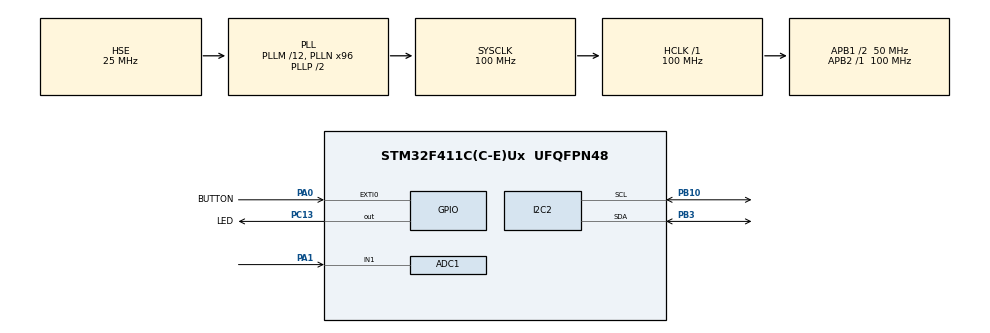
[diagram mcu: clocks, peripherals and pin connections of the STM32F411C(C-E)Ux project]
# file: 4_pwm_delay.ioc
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ADC1.Channel-2\#ChannelRegularConversion=ADC_CHANNEL_1
ADC1.ContinuousConvMode=DISABLE
ADC1.NbrOfConversionFlag=1
ADC1.Rank-2\#ChannelRegularConversion=1
ADC1.SamplingTime-2\#ChannelRegularConversion=ADC_SAMPLETIME_3CYCLES
ADC1.master=1
Mcu.Family=STM32F4
Mcu.Name=STM32F411C(C-E)Ux
Mcu.Package=UFQFPN48
NVIC.ADC_IRQn=true\:0\:0\:false\:false\:true\:true\:true\:true
NVIC.EXTI0_IRQn=true\:0\:0\:false\:false\:true\:true\:true\:true
NVIC.PriorityGroup=NVIC_PRIORITYGROUP_4
PA0-WKUP.GPIO_Label=BUTTON
PA0-WKUP.GPIO_PuPd=GPIO_PULLUP
PA0-WKUP.Signal=GPXTI0
PA1.Signal=ADCx_IN1
PA13.Mode=Serial_Wire
PA13.Signal=SYS_JTMS-SWDIO
PA14.Mode=Serial_Wire
PA14.Signal=SYS_JTCK-SWCLK
PB10.Mode=I2C
PB10.Signal=I2C2_SCL
PB3.Mode=I2C
PB3.Signal=I2C2_SDA
PC13-ANTI_TAMP.GPIO_Label=LED
PC13-ANTI_TAMP.Signal=GPIO_Output
PH0\ -\ OSC_IN.Mode=HSE-External-Oscillator
PH0\ -\ OSC_IN.Signal=RCC_OSC_IN
PH1\ -\ OSC_OUT.Mode=HSE-External-Oscillator
PH1\ -\ OSC_OUT.Signal=RCC_OSC_OUT
ProjectManager.HeapSize=0x200
ProjectManager.StackSize=0x400
ProjectManager.TargetToolchain=STM32CubeIDE
RCC.48MHZClocksFreq_Value=50000000
RCC.AHBFreq_Value=100000000
RCC.APB1CLKDivider=RCC_HCLK_DIV2
RCC.APB1Freq_Value=50000000
RCC.APB1TimFreq_Value=100000000
RCC.APB2Freq_Value=100000000
RCC.APB2TimFreq_Value=100000000
RCC.CortexFreq_Value=100000000
RCC.HCLKFreq_Value=100000000
RCC.HSE_VALUE=25000000
RCC.HSI_VALUE=16000000
RCC.LSE_VALUE=32768
RCC.PLLM=12
RCC.PLLN=96
RCC.PLLSourceVirtual=RCC_PLLSOURCE_HSE
RCC.SYSCLKFreq_VALUE=100000000
RCC.SYSCLKSource=RCC_SYSCLKSOURCE_PLLCLK
RCC.VCOOutputFreq_Value=200000000
SH.ADCx_IN1.0=ADC1_IN1,IN1
board=custom

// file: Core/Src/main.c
/* USER CODE BEGIN Header */
/**
  ******************************************************************************
  * @file           : main.c
  * @brief          : Main program body
  ******************************************************************************
  * @attention
  *
  * Copyright (c) 2023 STMicroelectronics.
  * All rights reserved.
  *
  * This software is licensed under terms that can be found in the LICENSE file
  * in the root directory of this software component.
  * If no LICENSE file comes with this software, it is provided AS-IS.
  *
  ******************************************************************************
  */
/* USER CODE END Header */
#include "main.h"

ADC_HandleTypeDef hadc1;

I2C_HandleTypeDef hi2c2;

/* USER CODE BEGIN PV */

/* Blackpill AD variables */
uint16_t adc_value;
uint8_t adc_flag = 0;

/* DA 12 bit i2c variables */
uint8_t dac_value_flag = 1;
uint16_t dac_value_on = 4095;
uint16_t dac_value_off = 0;
char buf[2];
uint8_t time_on = 0;

/* USER CODE END PV */

void SystemClock_Config(void);
static void MX_GPIO_Init(void);
static void MX_ADC1_Init(void);
static void MX_I2C2_Init(void);
/* USER CODE BEGIN PFP */
/** function to write value in i2c dac */
void write_dac(char buf[2], int dac_value){
  buf[0] = (uint8_t)(dac_value>>8);
  buf[1] = (uint8_t)(dac_value);
  HAL_I2C_Master_Transmit(&hi2c2, (0x60)<<1, buf, 2, 50);
}

/* USER CODE END PFP */

int main(void)
{

  /* MCU Configuration--------------------------------------------------------*/

  /* Reset of all peripherals, Initializes the Flash interface and the Systick. */
  HAL_Init();

  /* Configure the system clock */
  SystemClock_Config();

  /* Initialize all configured peripherals */
  MX_GPIO_Init();
  MX_ADC1_Init();
  MX_I2C2_Init();
  /* USER CODE BEGIN 2 */

  // Initializing blackpill adc
  HAL_ADC_Start_IT(&hadc1);

  /* USER CODE END 2 */

  /* Infinite loop */
  /* USER CODE BEGIN WHILE */
  while (1){

    // Treating AD input
    if(adc_flag == 1){
      adc_flag = 0;
      HAL_GPIO_TogglePin(LED_GPIO_Port, LED_Pin);

      // 10% time on with adc is zero and 90% time on when is 4095
      time_on = 80*adc_value/4095 + 10;

      // value to DA
      write_dac(buf, dac_value_on);
      HAL_Delay(time_on);

      write_dac(buf, dac_value_off);
      HAL_Delay(100 - time_on);

      HAL_ADC_Start_IT(&hadc1);
    }

    /* USER CODE END WHILE */

  }
}

void SystemClock_Config(void)
{
  RCC_OscInitTypeDef RCC_OscInitStruct = {0};
  RCC_ClkInitTypeDef RCC_ClkInitStruct = {0};

  /** Configure the main internal regulator output voltage
  */
  __HAL_RCC_PWR_CLK_ENABLE();
  __HAL_PWR_VOLTAGESCALING_CONFIG(PWR_REGULATOR_VOLTAGE_SCALE1);

  /** Initializes the RCC Oscillators according to the specified parameters
  * in the RCC_OscInitTypeDef structure.
  */
  RCC_OscInitStruct.OscillatorType = RCC_OSCILLATORTYPE_HSE;
  RCC_OscInitStruct.HSEState = RCC_HSE_ON;
  RCC_OscInitStruct.PLL.PLLState = RCC_PLL_ON;
  RCC_OscInitStruct.PLL.PLLSource = RCC_PLLSOURCE_HSE;
  RCC_OscInitStruct.PLL.PLLM = 12;
  RCC_OscInitStruct.PLL.PLLN = 96;
  RCC_OscInitStruct.PLL.PLLP = RCC_PLLP_DIV2;
  RCC_OscInitStruct.PLL.PLLQ = 4;
  if (HAL_RCC_OscConfig(&RCC_OscInitStruct) != HAL_OK)
  {
    Error_Handler();
  }

  /** Initializes the CPU, AHB and APB buses clocks
  */
  RCC_ClkInitStruct.ClockType = RCC_CLOCKTYPE_HCLK|RCC_CLOCKTYPE_SYSCLK
                              |RCC_CLOCKTYPE_PCLK1|RCC_CLOCKTYPE_PCLK2;
  RCC_ClkInitStruct.SYSCLKSource = RCC_SYSCLKSOURCE_PLLCLK;
  RCC_ClkInitStruct.AHBCLKDivider = RCC_SYSCLK_DIV1;
  RCC_ClkInitStruct.APB1CLKDivider = RCC_HCLK_DIV2;
  RCC_ClkInitStruct.APB2CLKDivider = RCC_HCLK_DIV1;

  if (HAL_RCC_ClockConfig(&RCC_ClkInitStruct, FLASH_LATENCY_3) != HAL_OK)
  {
    Error_Handler();
  }
}

static void MX_ADC1_Init(void)
{

  ADC_ChannelConfTypeDef sConfig = {0};

  /** Configure the global features of the ADC (Clock, Resolution, Data Alignment and number of conversion)
  */
  hadc1.Instance = ADC1;
  hadc1.Init.ClockPrescaler = ADC_CLOCK_SYNC_PCLK_DIV4;
  hadc1.Init.Resolution = ADC_RESOLUTION_12B;
  hadc1.Init.ScanConvMode = DISABLE;
  hadc1.Init.ContinuousConvMode = DISABLE;
  hadc1.Init.DiscontinuousConvMode = DISABLE;
  hadc1.Init.ExternalTrigConvEdge = ADC_EXTERNALTRIGCONVEDGE_NONE;
  hadc1.Init.ExternalTrigConv = ADC_SOFTWARE_START;
  hadc1.Init.DataAlign = ADC_DATAALIGN_RIGHT;
  hadc1.Init.NbrOfConversion = 1;
  hadc1.Init.DMAContinuousRequests = DISABLE;
  hadc1.Init.EOCSelection = ADC_EOC_SINGLE_CONV;
  if (HAL_ADC_Init(&hadc1) != HAL_OK)
  {
    Error_Handler();
  }

  /** Configure for the selected ADC regular channel its corresponding rank in the sequencer and its sample time.
  */
  sConfig.Channel = ADC_CHANNEL_1;
  sConfig.Rank = 1;
  sConfig.SamplingTime = ADC_SAMPLETIME_3CYCLES;
  if (HAL_ADC_ConfigChannel(&hadc1, &sConfig) != HAL_OK)
  {
    Error_Handler();
  }

}

static void MX_I2C2_Init(void)
{

  hi2c2.Instance = I2C2;
  hi2c2.Init.ClockSpeed = 100000;
  hi2c2.Init.DutyCycle = I2C_DUTYCYCLE_2;
  hi2c2.Init.OwnAddress1 = 0;
  hi2c2.Init.AddressingMode = I2C_ADDRESSINGMODE_7BIT;
  hi2c2.Init.DualAddressMode = I2C_DUALADDRESS_DISABLE;
  hi2c2.Init.OwnAddress2 = 0;
  hi2c2.Init.GeneralCallMode = I2C_GENERALCALL_DISABLE;
  hi2c2.Init.NoStretchMode = I2C_NOSTRETCH_DISABLE;
  if (HAL_I2C_Init(&hi2c2) != HAL_OK)
  {
    Error_Handler();
  }

}

static void MX_GPIO_Init(void)
{
  GPIO_InitTypeDef GPIO_InitStruct = {0};

  /* GPIO Ports Clock Enable */
  __HAL_RCC_GPIOC_CLK_ENABLE();
  __HAL_RCC_GPIOH_CLK_ENABLE();
  __HAL_RCC_GPIOA_CLK_ENABLE();
  __HAL_RCC_GPIOB_CLK_ENABLE();

  /*Configure GPIO pin Output Level */
  HAL_GPIO_WritePin(LED_GPIO_Port, LED_Pin, GPIO_PIN_RESET);

  /*Configure GPIO pin : LED_Pin */
  GPIO_InitStruct.Pin = LED_Pin;
  GPIO_InitStruct.Mode = GPIO_MODE_OUTPUT_PP;
  GPIO_InitStruct.Pull = GPIO_NOPULL;
  GPIO_InitStruct.Speed = GPIO_SPEED_FREQ_LOW;
  HAL_GPIO_Init(LED_GPIO_Port, &GPIO_InitStruct);

  /*Configure GPIO pin : BUTTON_Pin */
  GPIO_InitStruct.Pin = BUTTON_Pin;
  GPIO_InitStruct.Mode = GPIO_MODE_IT_RISING;
  GPIO_InitStruct.Pull = GPIO_PULLUP;
  HAL_GPIO_Init(BUTTON_GPIO_Port, &GPIO_InitStruct);

  /* EXTI interrupt init*/
  HAL_NVIC_SetPriority(EXTI0_IRQn, 0, 0);
  HAL_NVIC_EnableIRQ(EXTI0_IRQn);

}

/* USER CODE BEGIN 4 */

/* Function to save adc value to variable*/
void HAL_ADC_ConvCpltCallback(ADC_HandleTypeDef* hadc)
{
  if(hadc == &hadc1){
    adc_flag = 1;
    adc_value = HAL_ADC_GetValue(&hadc1);
    HAL_ADC_Stop_IT(&hadc1);
  }
}

/* Function for button interruption */
void HAL_GPIO_EXTI_Callback(uint16_t GPIO_Pin){

  if(GPIO_Pin == BUTTON_Pin){
    if(dac_value_flag == 1){
      dac_value_on = 2047;
      dac_value_flag = 0;
    }else{
      dac_value_on = 4095;
      dac_value_flag = 1;
    }
  }

}

/* USER CODE END 4 */

void Error_Handler(void)
{
  __disable_irq();
  while (1)
  {
  }
}
